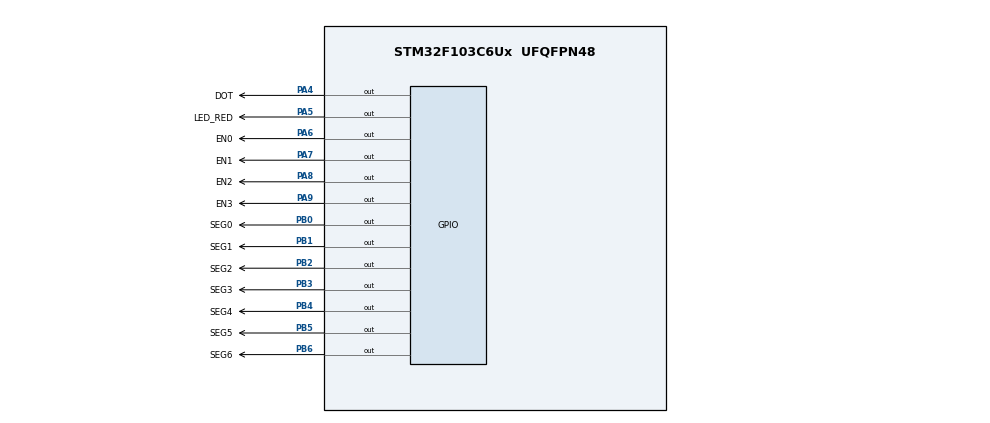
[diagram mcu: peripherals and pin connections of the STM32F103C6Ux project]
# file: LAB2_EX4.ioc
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Mcu.Family=STM32F1
Mcu.Name=STM32F103C6Ux
Mcu.Package=UFQFPN48
NVIC.PriorityGroup=NVIC_PRIORITYGROUP_4
NVIC.TIM2_IRQn=true\:0\:0\:false\:false\:true\:true\:true
PA4.GPIO_Label=DOT
PA4.Signal=GPIO_Output
PA5.GPIO_Label=LED_RED
PA5.Signal=GPIO_Output
PA6.GPIO_Label=EN0
PA6.Signal=GPIO_Output
PA7.GPIO_Label=EN1
PA7.Signal=GPIO_Output
PA8.GPIO_Label=EN2
PA8.Signal=GPIO_Output
PA9.GPIO_Label=EN3
PA9.Signal=GPIO_Output
PB0.GPIO_Label=SEG0
PB0.Signal=GPIO_Output
PB1.GPIO_Label=SEG1
PB1.Signal=GPIO_Output
PB2.GPIO_Label=SEG2
PB2.Signal=GPIO_Output
PB3.GPIO_Label=SEG3
PB3.Signal=GPIO_Output
PB4.GPIO_Label=SEG4
PB4.Signal=GPIO_Output
PB5.GPIO_Label=SEG5
PB5.Signal=GPIO_Output
PB6.GPIO_Label=SEG6
PB6.Signal=GPIO_Output
ProjectManager.HeapSize=0x200
ProjectManager.StackSize=0x400
ProjectManager.TargetToolchain=STM32CubeIDE
RCC.APB1Freq_Value=8000000
RCC.APB2Freq_Value=8000000
TIM2.Period=9
TIM2.Prescaler=7999
VP_SYS_VS_ND.Mode=No_Debug
VP_TIM2_VS_ClockSourceINT.Mode=Internal
board=custom

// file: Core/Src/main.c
/* USER CODE BEGIN Header */
/**
  ******************************************************************************
  * @file           : main.c
  * @brief          : Main program body
  ******************************************************************************
  * @attention
  *
  * <h2><center>&copy; Copyright (c) 2025 STMicroelectronics.
  * All rights reserved.</center></h2>
  *
  * This software component is licensed by ST under BSD 3-Clause license,
  * the "License"; You may not use this file except in compliance with the
  * License. You may obtain a copy of the License at:
  *                        opensource.org/licenses/BSD-3-Clause
  *
  ******************************************************************************
  */
/* USER CODE END Header */
#include "main.h"

/* USER CODE BEGIN Includes */
#include "software_timer.h"
/* USER CODE END Includes */

TIM_HandleTypeDef htim2;

/* USER CODE BEGIN PV */
unsigned char tbl7seg [] = {0xC0, 0xF9, 0xA4, 0xB0, 0x99, 0x92, 0x82, 0xF8, 0x80, 0x90};
//int currentLED = 0;
const int MAX_LED = 4;
int index_led = 0;
int led_buffer[4] = {0, 2, 0, 4};
/* USER CODE END PV */

void SystemClock_Config(void);
static void MX_GPIO_Init(void);
static void MX_TIM2_Init(void);

/* USER CODE BEGIN 0 */
void display7SEG(int num);
void update7SEG(int index);
/* USER CODE END 0 */

int main(void)
{

  /* MCU Configuration--------------------------------------------------------*/

  /* Reset of all peripherals, Initializes the Flash interface and the Systick. */
  HAL_Init();

  /* Configure the system clock */
  SystemClock_Config();

  /* USER CODE BEGIN SysInit */
  int index_led = 0;
  /* USER CODE END SysInit */

  /* Initialize all configured peripherals */
  MX_GPIO_Init();
  MX_TIM2_Init();
  /* USER CODE BEGIN 2 */
  HAL_TIM_Base_Start_IT(&htim2);
  /* USER CODE END 2 */

  /* Infinite loop */
  /* USER CODE BEGIN WHILE */
  setTimer1(100);
  setTimer2(100);
  setTimer3(100);
  while (1)
  {
	  if (timer1_flag == 1){
		  setTimer1(100);
		  HAL_GPIO_TogglePin(LED_RED_GPIO_Port, LED_RED_Pin);
	  }

	  if (timer3_flag == 1){
		  setTimer3(100);
		  HAL_GPIO_TogglePin(DOT_GPIO_Port, DOT_Pin);
	  }

	  if (timer2_flag == 1) {
		  setTimer2(100); // reset lại 0.5s
		  update7SEG(index_led);
		  index_led++;
		  if (index_led >= MAX_LED) index_led = 0;
	  }
    /* USER CODE END WHILE */

  }
}

void SystemClock_Config(void)
{
  RCC_OscInitTypeDef RCC_OscInitStruct = {0};
  RCC_ClkInitTypeDef RCC_ClkInitStruct = {0};

  /** Initializes the RCC Oscillators according to the specified parameters
  * in the RCC_OscInitTypeDef structure.
  */
  RCC_OscInitStruct.OscillatorType = RCC_OSCILLATORTYPE_HSI;
  RCC_OscInitStruct.HSIState = RCC_HSI_ON;
  RCC_OscInitStruct.HSICalibrationValue = RCC_HSICALIBRATION_DEFAULT;
  RCC_OscInitStruct.PLL.PLLState = RCC_PLL_NONE;
  if (HAL_RCC_OscConfig(&RCC_OscInitStruct) != HAL_OK)
  {
    Error_Handler();
  }
  /** Initializes the CPU, AHB and APB buses clocks
  */
  RCC_ClkInitStruct.ClockType = RCC_CLOCKTYPE_HCLK|RCC_CLOCKTYPE_SYSCLK
                              |RCC_CLOCKTYPE_PCLK1|RCC_CLOCKTYPE_PCLK2;
  RCC_ClkInitStruct.SYSCLKSource = RCC_SYSCLKSOURCE_HSI;
  RCC_ClkInitStruct.AHBCLKDivider = RCC_SYSCLK_DIV1;
  RCC_ClkInitStruct.APB1CLKDivider = RCC_HCLK_DIV1;
  RCC_ClkInitStruct.APB2CLKDivider = RCC_HCLK_DIV1;

  if (HAL_RCC_ClockConfig(&RCC_ClkInitStruct, FLASH_LATENCY_0) != HAL_OK)
  {
    Error_Handler();
  }
}

static void MX_TIM2_Init(void)
{

  TIM_ClockConfigTypeDef sClockSourceConfig = {0};
  TIM_MasterConfigTypeDef sMasterConfig = {0};

  htim2.Instance = TIM2;
  htim2.Init.Prescaler = 7999;
  htim2.Init.CounterMode = TIM_COUNTERMODE_UP;
  htim2.Init.Period = 9;
  htim2.Init.ClockDivision = TIM_CLOCKDIVISION_DIV1;
  htim2.Init.AutoReloadPreload = TIM_AUTORELOAD_PRELOAD_DISABLE;
  if (HAL_TIM_Base_Init(&htim2) != HAL_OK)
  {
    Error_Handler();
  }
  sClockSourceConfig.ClockSource = TIM_CLOCKSOURCE_INTERNAL;
  if (HAL_TIM_ConfigClockSource(&htim2, &sClockSourceConfig) != HAL_OK)
  {
    Error_Handler();
  }
  sMasterConfig.MasterOutputTrigger = TIM_TRGO_RESET;
  sMasterConfig.MasterSlaveMode = TIM_MASTERSLAVEMODE_DISABLE;
  if (HAL_TIMEx_MasterConfigSynchronization(&htim2, &sMasterConfig) != HAL_OK)
  {
    Error_Handler();
  }

}

static void MX_GPIO_Init(void)
{
  GPIO_InitTypeDef GPIO_InitStruct = {0};

  /* GPIO Ports Clock Enable */
  __HAL_RCC_GPIOA_CLK_ENABLE();
  __HAL_RCC_GPIOB_CLK_ENABLE();

  /*Configure GPIO pin Output Level */
  HAL_GPIO_WritePin(GPIOA, DOT_Pin|LED_RED_Pin|EN0_Pin|EN1_Pin
                          |EN2_Pin|EN3_Pin, GPIO_PIN_RESET);

  /*Configure GPIO pin Output Level */
  HAL_GPIO_WritePin(GPIOB, SEG0_Pin|SEG1_Pin|SEG2_Pin|SEG3_Pin
                          |SEG4_Pin|SEG5_Pin|SEG6_Pin, GPIO_PIN_RESET);

  /*Configure GPIO pins : DOT_Pin LED_RED_Pin EN0_Pin EN1_Pin
                           EN2_Pin EN3_Pin */
  GPIO_InitStruct.Pin = DOT_Pin|LED_RED_Pin|EN0_Pin|EN1_Pin
                          |EN2_Pin|EN3_Pin;
  GPIO_InitStruct.Mode = GPIO_MODE_OUTPUT_PP;
  GPIO_InitStruct.Pull = GPIO_NOPULL;
  GPIO_InitStruct.Speed = GPIO_SPEED_FREQ_LOW;
  HAL_GPIO_Init(GPIOA, &GPIO_InitStruct);

  /*Configure GPIO pins : SEG0_Pin SEG1_Pin SEG2_Pin SEG3_Pin
                           SEG4_Pin SEG5_Pin SEG6_Pin */
  GPIO_InitStruct.Pin = SEG0_Pin|SEG1_Pin|SEG2_Pin|SEG3_Pin
                          |SEG4_Pin|SEG5_Pin|SEG6_Pin;
  GPIO_InitStruct.Mode = GPIO_MODE_OUTPUT_PP;
  GPIO_InitStruct.Pull = GPIO_NOPULL;
  GPIO_InitStruct.Speed = GPIO_SPEED_FREQ_LOW;
  HAL_GPIO_Init(GPIOB, &GPIO_InitStruct);

}

/* USER CODE BEGIN 4 */
void HAL_TIM_PeriodElapsedCallback(TIM_HandleTypeDef *htim) {
	timerRun();
}

void display7SEG(int num) {
    if (num < 0 || num > 9) return;
    GPIOB->ODR = (GPIOB->ODR & 0xFF80) | tbl7seg[num];
}

void update7SEG(int index) {
    // Tắt tất cả LED trước (common anode, OFF = SET)
    HAL_GPIO_WritePin(GPIOA, EN0_Pin|EN1_Pin|EN2_Pin|EN3_Pin, GPIO_PIN_SET);

    switch (index) {
        case 0:
            display7SEG(led_buffer[0]);
            HAL_GPIO_WritePin(GPIOA, EN0_Pin, GPIO_PIN_RESET); // bật LED1
            break;
        case 1:
            display7SEG(led_buffer[1]);
            HAL_GPIO_WritePin(GPIOA, EN1_Pin, GPIO_PIN_RESET); // bật LED2
            break;
        case 2:
            display7SEG(led_buffer[2]);
            HAL_GPIO_WritePin(GPIOA, EN2_Pin, GPIO_PIN_RESET); // bật LED3
            break;
        case 3:
            display7SEG(led_buffer[3]);
            HAL_GPIO_WritePin(GPIOA, EN3_Pin, GPIO_PIN_RESET); // bật LED4
            break;
        default:
            break;
    }
}
/* USER CODE END 4 */

void Error_Handler(void)
{
  __disable_irq();
  while (1)
  {
  }
}

/************************ (C) COPYRIGHT STMicroelectronics *****END OF FILE****/
